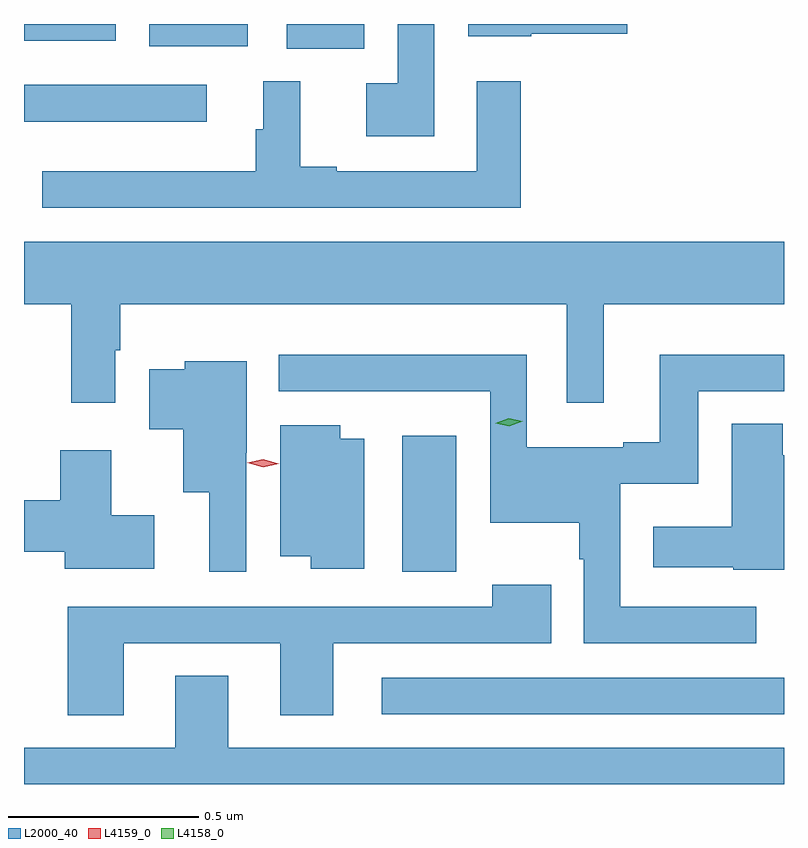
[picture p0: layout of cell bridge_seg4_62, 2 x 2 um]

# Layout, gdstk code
import gdstk
lib = gdstk.Library(unit=1e-6, precision=1e-09)
def R(c, l, rs):  # rectangles x0, y0, x1, y1
    for r in rs: c.add(gdstk.rectangle(r[:2], r[2:], *l))
def P(c, l, *ps):  # polygons
    for p in ps: c.add(gdstk.Polygon(p, *l))
L2000_40 = (2000, 40)
L4158_0 = (4158, 0)
L4159_0 = (4159, 0)

bridge_seg4_62 = lib.new_cell('bridge_seg4_62')
R(bridge_seg4_62, L2000_40, [(731.853,750.453,732.911,750.549), (731.906,750.828,732.049,751.186), (730.911,752.012,731.392,752.109), (731.603,752.204,731.806,752.269), (731.24,752.21,731.5,752.269), (730.911,752.225,731.152,752.269)])
P(bridge_seg4_62, L2000_40, [(732.246,752.243),(732.499,752.243),(732.499,752.269),(732.08,752.269),(732.08,752.237),(732.246,752.237)],
  [(731.991,752.269),(731.895,752.269),(731.895,752.113),(731.811,752.113),(731.811,751.973),(731.991,751.973)],
  [(732.218,752.119),(732.102,752.119),(732.102,751.881),(731.734,751.881),(731.734,751.894),(731.638,751.894),(731.638,752.119),(731.54,752.119),(731.54,751.992),(731.521,751.992),(731.521,751.882),(730.959,751.882),(730.959,751.785),(732.218,751.785)],
  [(731.151,751.41),(731.164,751.41),(731.164,751.532),(732.339,751.532),(732.339,751.272),(732.436,751.272),(732.436,751.532),(732.911,751.532),(732.911,751.696),(730.911,751.696),(730.911,751.532),(731.035,751.532),(731.035,751.272),(731.151,751.272)],
  [(732.838,750.735),(732.48,750.735),(732.48,751.059),(732.685,751.059),(732.685,751.302),(732.911,751.302),(732.911,751.399),(732.584,751.399),(732.584,751.168),(732.488,751.168),(732.488,751.155),(732.234,751.155),(732.234,751.399),(731.582,751.399),(731.582,751.302),(732.138,751.302),(732.138,750.956),(732.372,750.956),(732.372,750.86),(732.384,750.86),(732.384,750.639),(732.838,750.639)],
  [(731.496,751.141),(731.497,751.141),(731.497,751.381),(731.334,751.381),(731.334,751.36),(731.24,751.36),(731.24,751.202),(731.33,751.202),(731.33,751.037),(731.399,751.037),(731.399,750.828),(731.496,750.828)],
  [(732.911,751.134),(732.908,751.134),(732.908,751.217),(732.773,751.217),(732.773,750.946),(732.567,750.946),(732.567,750.839),(732.777,750.839),(732.777,750.833),(732.911,750.833)],
  [(731.806,751.177),(731.743,751.177),(731.743,751.213),(731.585,751.213),(731.585,750.869),(731.666,750.869),(731.666,750.836),(731.806,750.836)],
  [(731.254,750.976),(731.14,750.976),(731.14,751.147),(731.006,751.147),(731.006,751.016),(730.911,751.016),(730.911,750.88),(731.018,750.88),(731.018,750.836),(731.254,750.836)],
  [(731.173,750.639),(731.585,750.639),(731.585,750.45),(731.725,750.45),(731.725,750.639),(732.299,750.639),(732.299,750.793),(732.143,750.793),(732.143,750.735),(731.026,750.735),(731.026,750.45),(731.173,750.45)],
  [(732.911,750.364),(731.449,750.364),(731.449,750.554),(731.309,750.554),(731.309,750.364),(730.911,750.364),(730.911,750.269),(732.911,750.269)])
P(bridge_seg4_62, L4158_0, [(732.188,751.211),(732.151,751.219),(732.151,751.219),(732.151,751.219),(732.186,751.231),(732.223,751.224),(732.223,751.224),(732.223,751.224)])
P(bridge_seg4_62, L4159_0, [(731.54,751.103),(731.499,751.115),(731.499,751.115),(731.499,751.115),(731.541,751.123),(731.581,751.112),(731.581,751.112),(731.581,751.112)])

lib.write_gds('bridge_seg4_62.gds')
